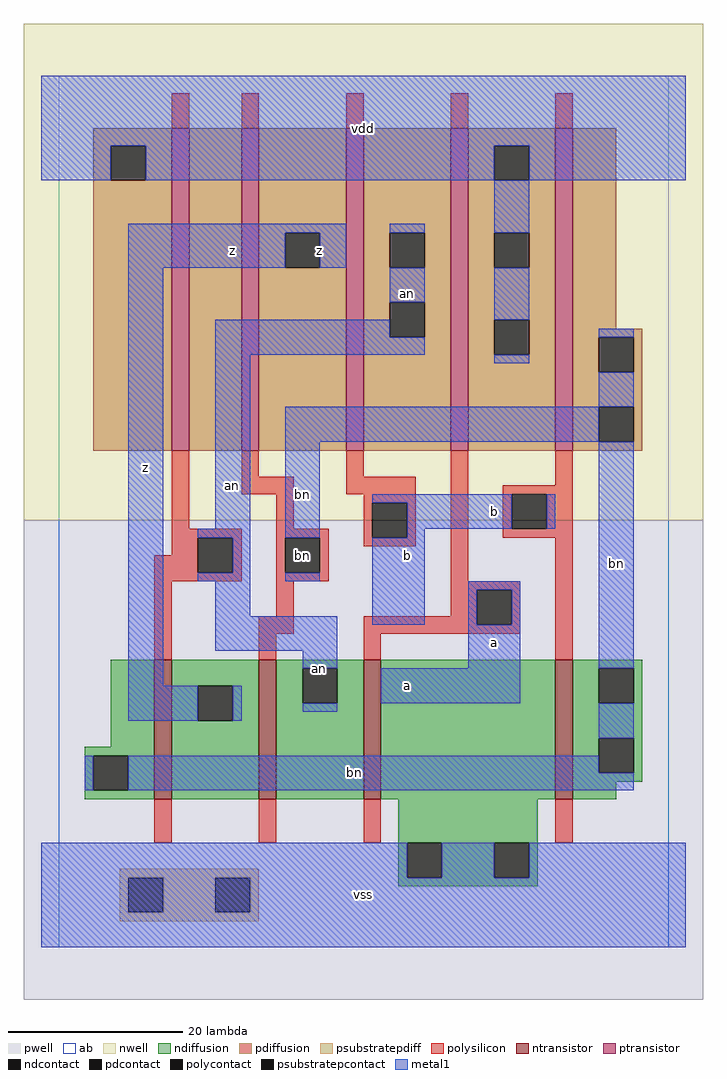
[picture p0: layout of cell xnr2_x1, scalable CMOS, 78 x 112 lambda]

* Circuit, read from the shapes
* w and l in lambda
.subckt xnr2_x1 a an b bn vdd vss z
M1 z an bn vss nfet w=16 l=2
M2 an bn z vss nfet w=16 l=2
M3 vss a an vss nfet w=16 l=2
M4 bn b vss vss nfet w=16 l=2
M5 n1 an vdd n2 pfet w=37 l=2
M6 z bn n1 n2 pfet w=37 l=2
M7 an b z n2 pfet w=37 l=2
M8 vdd a an n2 pfet w=37 l=2
M9 bn b vdd n2 pfet w=37 l=2
.ends

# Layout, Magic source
magic
tech scmos
<< ab >>
rect 0 0 70 100
<< pwell >>
rect -4 -6 74 49
<< nwell >>
rect -4 49 74 106
<< polysilicon >>
rect 13 94 15 98
rect 21 94 23 98
rect 33 94 35 98
rect 45 94 47 98
rect 57 94 59 98
rect 13 48 15 57
rect 21 54 23 57
rect 33 54 35 57
rect 21 52 27 54
rect 33 52 41 54
rect 25 48 27 52
rect 35 51 41 52
rect 13 47 21 48
rect 13 45 16 47
rect 11 43 16 45
rect 20 43 21 47
rect 11 42 21 43
rect 25 47 31 48
rect 25 43 26 47
rect 30 43 31 47
rect 35 47 36 51
rect 40 47 41 51
rect 35 46 41 47
rect 25 42 31 43
rect 45 42 47 57
rect 57 53 59 57
rect 51 52 59 53
rect 51 48 52 52
rect 56 48 59 52
rect 51 47 59 48
rect 11 33 13 42
rect 25 38 27 42
rect 45 41 53 42
rect 45 38 48 41
rect 23 36 27 38
rect 35 37 48 38
rect 52 37 53 41
rect 35 36 53 37
rect 23 33 25 36
rect 35 33 37 36
rect 57 33 59 47
rect 11 12 13 17
rect 23 12 25 17
rect 35 12 37 17
rect 57 12 59 17
<< ndiffusion >>
rect 6 23 11 33
rect 3 22 11 23
rect 3 18 4 22
rect 8 18 11 22
rect 3 17 11 18
rect 13 30 23 33
rect 13 26 16 30
rect 20 26 23 30
rect 13 17 23 26
rect 25 32 35 33
rect 25 28 28 32
rect 32 28 35 32
rect 25 17 35 28
rect 37 17 57 33
rect 59 32 67 33
rect 59 28 62 32
rect 66 28 67 32
rect 59 24 67 28
rect 59 20 62 24
rect 66 20 67 24
rect 59 19 67 20
rect 59 17 64 19
rect 39 12 55 17
rect 39 8 40 12
rect 44 8 50 12
rect 54 8 55 12
rect 39 7 55 8
<< pdiffusion >>
rect 4 92 13 94
rect 4 88 6 92
rect 10 88 13 92
rect 4 57 13 88
rect 15 57 21 94
rect 23 82 33 94
rect 23 78 26 82
rect 30 78 33 82
rect 23 57 33 78
rect 35 82 45 94
rect 35 78 38 82
rect 42 78 45 82
rect 35 74 45 78
rect 35 70 38 74
rect 42 70 45 74
rect 35 57 45 70
rect 47 92 57 94
rect 47 88 50 92
rect 54 88 57 92
rect 47 82 57 88
rect 47 78 50 82
rect 54 78 57 82
rect 47 72 57 78
rect 47 68 50 72
rect 54 68 57 72
rect 47 57 57 68
rect 59 71 64 94
rect 59 70 67 71
rect 59 66 62 70
rect 66 66 67 70
rect 59 62 67 66
rect 59 58 62 62
rect 66 58 67 62
rect 59 57 67 58
<< metal1 >>
rect -2 92 72 100
rect -2 88 6 92
rect 10 88 50 92
rect 54 88 72 92
rect 8 82 33 83
rect 8 78 26 82
rect 30 78 33 82
rect 38 82 42 83
rect 8 30 12 78
rect 38 74 42 78
rect 18 70 38 72
rect 18 68 42 70
rect 50 82 54 88
rect 50 72 54 78
rect 18 48 22 68
rect 50 67 54 68
rect 62 70 66 71
rect 62 62 66 66
rect 16 47 22 48
rect 20 43 22 47
rect 16 42 22 43
rect 26 58 62 62
rect 26 47 30 58
rect 26 42 30 43
rect 36 51 52 52
rect 40 48 52 51
rect 56 48 57 52
rect 40 47 42 48
rect 18 38 22 42
rect 18 34 32 38
rect 36 37 42 47
rect 47 41 53 42
rect 47 37 48 41
rect 52 37 53 41
rect 28 32 32 34
rect 47 32 53 37
rect 8 26 16 30
rect 20 26 21 30
rect 37 28 53 32
rect 62 32 66 58
rect 28 27 32 28
rect 62 24 66 28
rect 3 18 4 22
rect 8 20 62 22
rect 8 18 66 20
rect -2 8 40 12
rect 44 8 50 12
rect 54 8 72 12
rect -2 0 72 8
<< ntransistor >>
rect 11 17 13 33
rect 23 17 25 33
rect 35 17 37 33
rect 57 17 59 33
<< ptransistor >>
rect 13 57 15 94
rect 21 57 23 94
rect 33 57 35 94
rect 45 57 47 94
rect 57 57 59 94
<< polycontact >>
rect 16 43 20 47
rect 26 43 30 47
rect 36 47 40 51
rect 52 48 56 52
rect 48 37 52 41
<< ndcontact >>
rect 4 18 8 22
rect 16 26 20 30
rect 28 28 32 32
rect 62 28 66 32
rect 62 20 66 24
rect 40 8 44 12
rect 50 8 54 12
<< pdcontact >>
rect 6 88 10 92
rect 26 78 30 82
rect 38 78 42 82
rect 38 70 42 74
rect 50 88 54 92
rect 50 78 54 82
rect 50 68 54 72
rect 62 66 66 70
rect 62 58 66 62
<< psubstratepcontact >>
rect 8 4 12 8
rect 18 4 22 8
<< psubstratepdiff >>
rect 7 8 23 9
rect 7 4 8 8
rect 12 4 18 8
rect 22 4 23 8
rect 7 3 23 4
<< labels >>
rlabel polycontact 28 45 28 45 6 bn
rlabel metal1 10 55 10 55 6 z
rlabel metal1 10 55 10 55 6 z
rlabel metal1 30 32 30 32 6 an
rlabel metal1 28 52 28 52 6 bn
rlabel metal1 20 53 20 53 6 an
rlabel metal1 20 80 20 80 6 z
rlabel metal1 20 80 20 80 6 z
rlabel metal1 30 80 30 80 6 z
rlabel metal1 30 80 30 80 6 z
rlabel metal1 35 6 35 6 6 vss
rlabel metal1 35 6 35 6 6 vss
rlabel metal1 50 35 50 35 6 a
rlabel metal1 40 45 40 45 6 b
rlabel metal1 40 30 40 30 6 a
rlabel metal1 40 45 40 45 6 b
rlabel metal1 50 35 50 35 6 a
rlabel metal1 40 30 40 30 6 a
rlabel metal1 50 50 50 50 6 b
rlabel metal1 50 50 50 50 6 b
rlabel metal1 40 75 40 75 6 an
rlabel metal1 35 94 35 94 6 vdd
rlabel metal1 35 94 35 94 6 vdd
rlabel metal1 34 20 34 20 6 bn
rlabel metal1 64 44 64 44 6 bn
<< end >>
